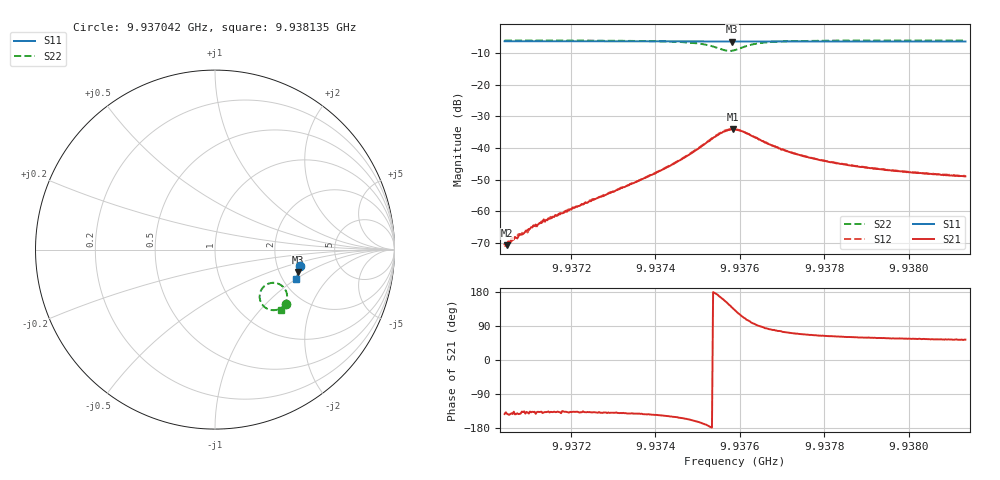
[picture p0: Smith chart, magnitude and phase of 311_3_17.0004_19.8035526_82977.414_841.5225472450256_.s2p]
#  HZ  S  RI  R  50.00
! Rohde & Schwarz Vector Network Analyzer
! Rohde-Schwarz,ZNB20-2Port,1311601062101988,3.16
! Created: UTC 3/20/2024, 11:06:01 PM
! freq[Hz]  re:S11  im:S11  re:S21  im:S21  re:S12  im:S12  re:S22  im:S22
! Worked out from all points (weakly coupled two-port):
!   401 points, 9.937042 GHz to 9.938135 GHz, reference 50 ohm
!   highest |S21| = -34.04 dB at 9.937583 GHz (marker M1); lowest = -70.7 dB at 9.937048 GHz (marker M2)
!   lowest |S11| = -6.4 dB at 9.93758 GHz (marker M3), VSWR 2.85, Z = 127 - j41.3 ohm
!   |S11| at or under -10 dB: nowhere
!   |S22| runs from -9.4 to -6.0 dB; largest |S21 - S12| = 0.00087
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9.9370424e9  0.476 -0.0907  -0.000241 -0.000184  -0.000228 -0.000173  0.3963 -0.3022
9.9370479e9  0.4759 -0.0909  -0.00023 -0.000181  -0.000245 -0.000188  0.3961 -0.3024
9.9370807e9  0.4752 -0.0933  -0.000334 -0.000268  -0.000338 -0.000279  0.394 -0.3047
9.9370998e9  0.4749 -0.0945  -0.000414 -0.000331  -0.000369 -0.000361  0.3924 -0.3062
9.9371107e9  0.4748 -0.0954  -0.000441 -0.000408  -0.000458 -0.000385  0.3916 -0.3071
9.9371517e9  0.4739 -0.0982  -0.000567 -0.000531  -0.000607 -0.000555  0.3885 -0.3099
9.9372254e9  0.4725 -0.1031  -0.000975 -0.000878  -0.000951 -0.000879  0.3818 -0.316
9.9373346e9  0.4703 -0.1104  -0.002 -0.0016  -0.00202 -0.00162  0.3673 -0.3261
9.9374084e9  0.4688 -0.1155  -0.00356 -0.00243  -0.00362 -0.00241  0.3503 -0.3338
9.9374657e9  0.4672 -0.1194  -0.00621 -0.00307  -0.00636 -0.00295  0.3254 -0.3377
9.9375176e9  0.4656 -0.1228  -0.0115 -0.00205  -0.0117 -0.00188  0.282 -0.3243
9.9375559e9  0.4639 -0.1247  -0.0166 0.00464  -0.0168 0.00511  0.2486 -0.2639
9.9375804e9  0.4634 -0.1253  -0.015 0.0128  -0.0148 0.0133  0.2751 -0.2034
9.9375832e9  0.4635 -0.1254  -0.0145 0.0136  -0.0141 0.014  0.2813 -0.1987
9.9375886e9  0.4634 -0.1255  -0.013 0.0148  -0.0125 0.0153  0.2948 -0.191
9.937605e9  0.4637 -0.1263  -0.0079 0.0167  -0.00753 0.017  0.3367 -0.1857
9.937646e9  0.4637 -0.129  8.32e-05 0.0137  0.000362 0.0136  0.3921 -0.224
9.9376979e9  0.463 -0.133  0.00229 0.00916  0.00262 0.0093  0.4021 -0.264
9.9377716e9  0.4613 -0.138  0.00282 0.00631  0.00296 0.00631  0.3965 -0.2915
9.9378617e9  0.4591 -0.144  0.00261 0.00462  0.00272 0.00464  0.388 -0.3088
9.9379546e9  0.4567 -0.1502  0.00244 0.00377  0.00252 0.00376  0.3806 -0.3198
9.9381348e9  0.4521 -0.1617  0.00212 0.00289  0.0022 0.00288  0.3679 -0.3345
